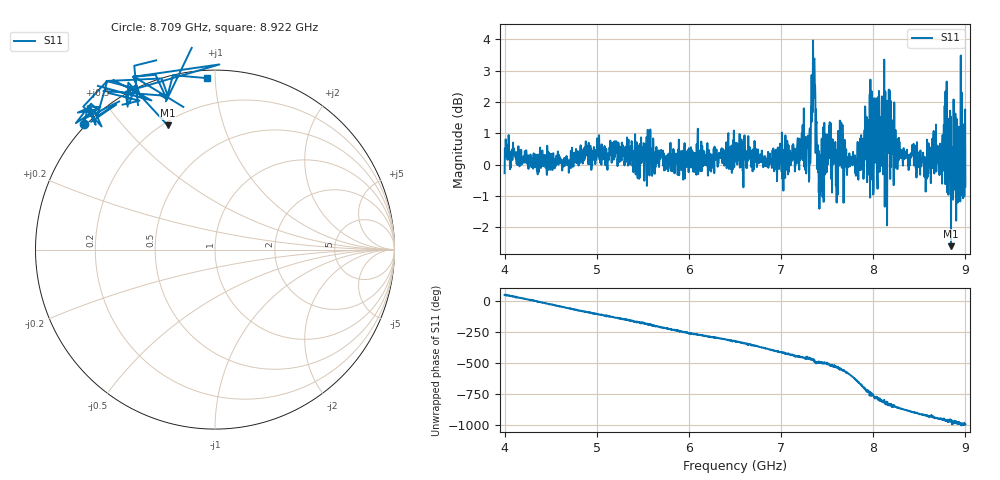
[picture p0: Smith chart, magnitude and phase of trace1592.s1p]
! Created with skrf 1.8.0 (http://scikit-rf.org).
# Hz S RI R 50.0
!freq ReS11 ImS11
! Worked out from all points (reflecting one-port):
!   1601 points, 4 GHz to 9 GHz, reference 50 ohm
!   lowest |S11| = -2.6 dB at 8.844 GHz (marker M1), VSWR 6.73, Z = 10.8 + j33.3 ohm
!   phase of S11 starts at 50 deg and turns -1041 deg over the sweep
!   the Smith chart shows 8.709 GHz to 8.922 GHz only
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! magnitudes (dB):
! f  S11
! 4 GHz  -0.3
! 4.028 GHz  0.4
! 4.625 GHz  -0.2
! 5.25 GHz  0.1
! 5.875 GHz  0.0
! 6.5 GHz  0.4
! 7.125 GHz  0.6
! 7.297 GHz  0.9
! 7.347 GHz  4.0
! 7.369 GHz  2.5
! 7.4 GHz  0.6
! 7.428 GHz  0.2
! 7.512 GHz  0.7
! 7.591 GHz  0.4
! 7.644 GHz  0.8
! 7.75 GHz  0.3
! 7.878 GHz  0.3
! 7.925 GHz  0.9
! 8.066 GHz  1.7
! 8.097 GHz  0.5
! 8.15 GHz  -1.9
! 8.181 GHz  1.6
! 8.375 GHz  0.3
! 8.572 GHz  -0.3
! 8.788 GHz  -0.4
! 8.844 GHz  -2.6
! 8.972 GHz  0.7
! 9 GHz  -0.7
